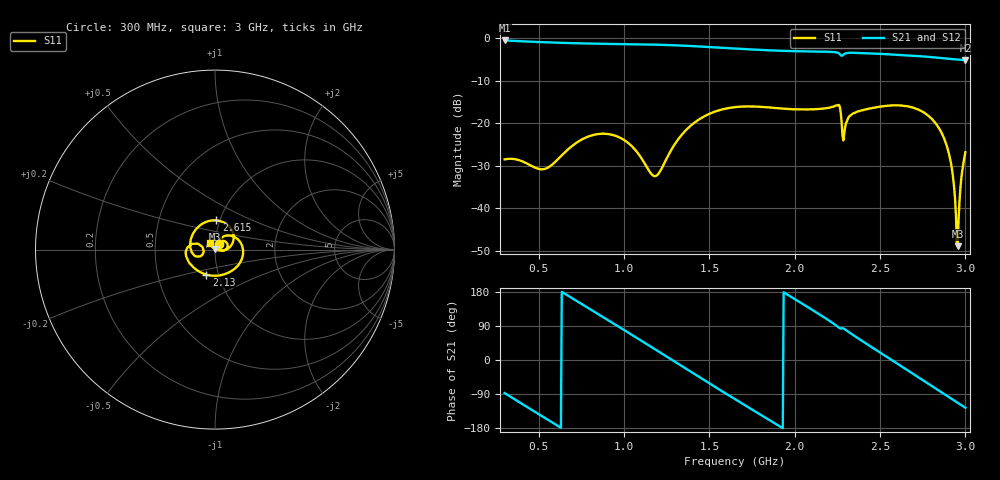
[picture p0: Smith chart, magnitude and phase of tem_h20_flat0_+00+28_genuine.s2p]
! tem_h20_flat0_+00+28_genuine
! simulated by sim/fixtures_fdtd.py (S12 = S21, S22 not computed)
# HZ S RI R 50
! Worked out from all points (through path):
!   541 points, 300 MHz to 3 GHz, reference 50 ohm
!   highest |S21| = -0.48 dB at 300 MHz (marker M1); lowest = -5.1 dB at 3 GHz (marker M2)
!   group delay of S21, straight-line fit = 777 ps
!   lowest |S11| = -48.9 dB at 2.955 GHz (marker M3), VSWR 1.01, Z = 50 + j0.356 ohm
!   |S11| at or under -10 dB: start of sweep to end of sweep
!   |S22| runs from - to - dB; largest |S21 - S12| = 0
!   S11 on the Smith chart (normalised r, x): 300 MHz: 1.05, +0.06; 2.13 GHz: 0.88, -0.25; 2.615 GHz: 0.96, +0.32; 3 GHz: 0.94, +0.06
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3e8  0.0235 0.0295  0.0457 -0.9456  0.0457 -0.9456  0 0
4.1e8  0.0292 0.0199  -0.4344 -0.8152  -0.4344 -0.8152  0 0
5.4e8  0.0195 0.0219  -0.8098 -0.3942  -0.8098 -0.3942  0 0
7.5e8  0.0416 0.0491  -0.7434 0.4604  -0.7434 0.4604  0 0
9.75e8  0.0675 0.00939  0.0578 0.8567  0.0578 0.8567  0 0
1.2e9  0.0183 0.0175  0.7763 0.3288  0.7763 0.3288  0 0
1.32e9  0.0287 0.0597  0.8115 -0.1588  0.8115 -0.1588  0 0
1.455e9  0.0869 0.0777  0.524 -0.6064  0.524 -0.6064  0 0
1.65e9  0.1555 0.00298  -0.1759 -0.7395  -0.1759 -0.7395  0 0
1.88e9  0.1049 -0.1102  -0.7002 -0.1702  -0.7002 -0.1702  0 0
2.1e9  -0.0243 -0.1446  -0.4795 0.5129  -0.4795 0.5129  0 0
2.13e9  -0.0478 -0.1393  -0.3977 0.5765  -0.3977 0.5765  0 0
2.255e9  -0.1614 -0.0348  0.0372 0.6749  0.0372 0.6749  0 0
2.285e9  -0.0624 -0.0101  0.0729 0.638  0.0729 0.638  0 0
2.33e9  -0.1232 -0.0229  0.2374 0.6345  0.2374 0.6345  0 0
2.55e9  -0.0536 0.1529  0.6483 0.0594  0.6483 0.0594  0 0
2.615e9  0.00693 0.1628  0.6225 -0.1512  0.6225 -0.1512  0 0
2.865e9  0.0738 0.0068  0.0319 -0.5854  0.0319 -0.5854  0 0
2.915e9  0.034 -0.0058  -0.113 -0.5622  -0.113 -0.5622  0 0
2.955e9  -0.000484 0.00356  -0.2195 -0.5198  -0.2195 -0.5198  0 0
2.98e9  -0.0188 0.0184  -0.2808 -0.4836  -0.2808 -0.4836  0 0
3e9  -0.0302 0.0345  -0.3261 -0.4494  -0.3261 -0.4494  0 0
